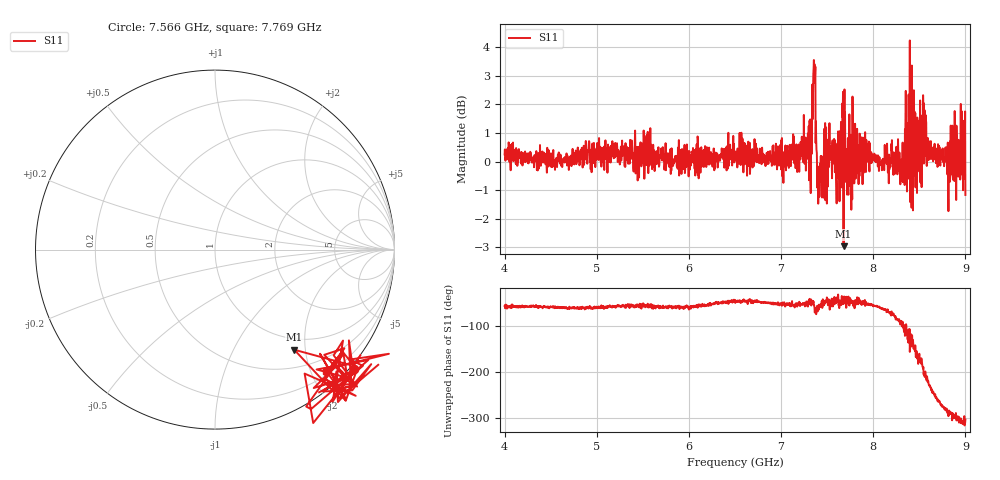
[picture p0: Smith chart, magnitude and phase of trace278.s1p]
! Created with skrf 1.8.0 (http://scikit-rf.org).
# Hz S RI R 50.0
!freq ReS11 ImS11
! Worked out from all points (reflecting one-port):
!   1601 points, 4 GHz to 9 GHz, reference 50 ohm
!   lowest |S11| = -3.0 dB at 7.678 GHz (marker M1), VSWR 5.93, Z = 39.6 - j89.5 ohm
!   phase of S11 starts at -56 deg and turns -248 deg over the sweep
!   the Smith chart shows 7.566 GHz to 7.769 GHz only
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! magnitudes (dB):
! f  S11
! 4 GHz  0.3
! 4.625 GHz  -0.2
! 5.25 GHz  -0.1
! 5.875 GHz  -0.1
! 6.5 GHz  0.2
! 7.038 GHz  0.1
! 7.125 GHz  0.3
! 7.309 GHz  1.4
! 7.353 GHz  3.2
! 7.372 GHz  3.3
! 7.4 GHz  -0.4
! 7.428 GHz  -0.3
! 7.525 GHz  1.3
! 7.609 GHz  0.2
! 7.669 GHz  1.5
! 7.678 GHz  -3.0
! 7.722 GHz  -0.4
! 7.75 GHz  0.1
! 7.928 GHz  0.3
! 8.316 GHz  -0.1
! 8.331 GHz  -0.1
! 8.375 GHz  1.3
! 8.425 GHz  -0.4
! 8.553 GHz  0.0
! 8.603 GHz  0.7
! 8.812 GHz  0.2
! 8.972 GHz  0.1
! 9 GHz  -1.2
